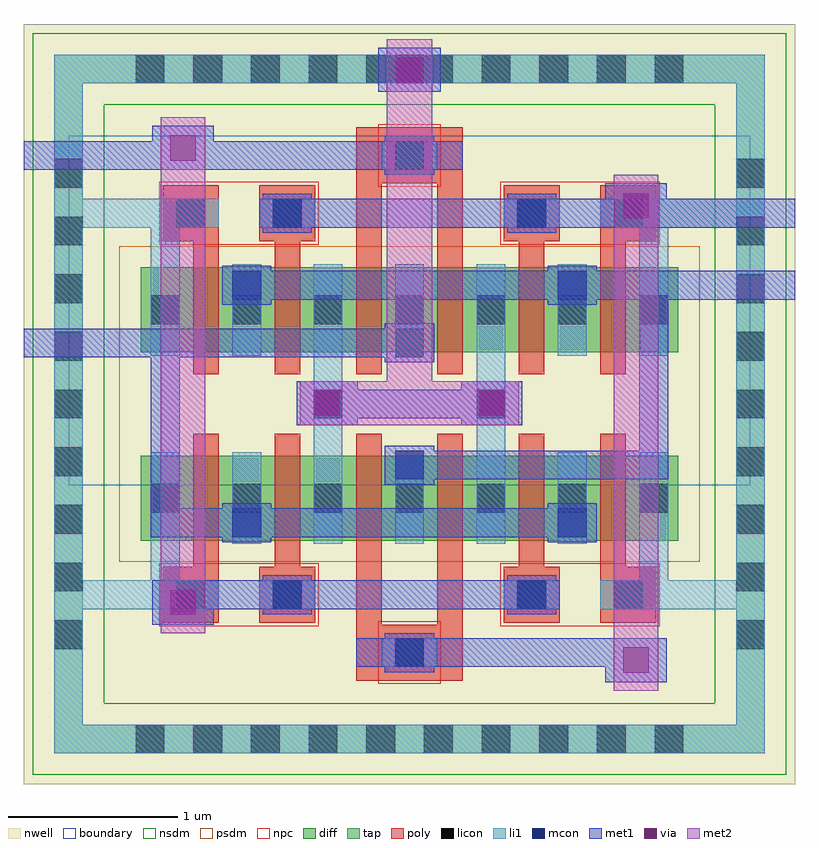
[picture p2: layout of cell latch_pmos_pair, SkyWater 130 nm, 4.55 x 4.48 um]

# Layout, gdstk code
import gdstk
lib = gdstk.Library(unit=1e-6, precision=1e-09)
def R(c, l, rs):  # rectangles x0, y0, x1, y1
    for r in rs: c.add(gdstk.rectangle(r[:2], r[2:], *l))
def A(c, l, x, y, w, h, nx, ny, dx, dy):  # array of equal rectangles
    R(c, l, [(x+i*dx, y+j*dy, x+i*dx+w, y+j*dy+h) for i in range(nx) for j in range(ny)])
nwell = (64, 20)
diff = (65, 20)
tap = (65, 44)
poly = (66, 20)
licon = (66, 44)
li1 = (67, 20)
mcon = (67, 44)
met1 = (68, 20)
via = (68, 44)
met2 = (69, 20)
nsdm = (93, 44)
psdm = (94, 20)
npc = (95, 20)
boundary = (235, 4)

latch_pmos_pair = lib.new_cell('latch_pmos_pair')
R(latch_pmos_pair, nwell, [(-2.275,-2.79,2.275,1.69)])
R(latch_pmos_pair, diff, [(-1.585,-1.355,1.585,-0.855), (-1.585,-0.245,1.585,0.255)])
R(latch_pmos_pair, tap, [(-2.095,-2.61,2.095,-2.44), (-2.095,-2.44,-1.925,1.34), (1.925,-2.44,2.095,1.34), (-2.095,1.34,2.095,1.51)])
R(latch_pmos_pair, poly, [(-0.315,-2.18,0.315,-1.85), (-0.315,-1.85,-0.165,-0.725), (0.165,-1.85,0.315,-0.725), (-1.455,-1.84,-1.125,-1.51), (-0.885,-1.84,-0.555,-1.51), (0.555,-1.84,0.885,-1.51), (1.125,-1.84,1.455,-1.51), (-1.275,-1.51,-1.125,-0.725), (-0.795,-1.51,-0.645,-0.725), (0.645,-1.51,0.795,-0.725), (1.125,-1.51,1.275,-0.725), (-1.275,-0.375,-1.125,0.41), (-0.795,-0.375,-0.645,0.41), (-0.315,-0.375,-0.165,0.75), (0.165,-0.375,0.315,0.75), (0.645,-0.375,0.795,0.41), (1.125,-0.375,1.275,0.41), (-1.455,0.41,-1.125,0.74), (-0.885,0.41,-0.555,0.74), (0.555,0.41,0.885,0.74), (1.125,0.41,1.455,0.74), (-0.315,0.75,0.315,1.08)])
A(latch_pmos_pair, licon, -1.615, -2.61, 0.17, 0.17, 10, 2, 0.34, 3.95)
A(latch_pmos_pair, licon, -2.095, -1.995, 0.17, 0.17, 1, 9, 0, 0.34)
A(latch_pmos_pair, licon, 1.925, -1.995, 0.17, 0.17, 1, 9, 0, 0.34)
A(latch_pmos_pair, licon, -1.525, -1.19, 0.17, 0.17, 7, 2, 0.48, 1.11)
R(latch_pmos_pair, licon, [(-0.085,-2.1,0.085,-1.93), (-1.375,-1.76,-1.205,-1.59), (-0.805,-1.76,-0.635,-1.59), (0.635,-1.76,0.805,-1.59), (1.205,-1.76,1.375,-1.59), (-1.375,0.49,-1.205,0.66), (-0.805,0.49,-0.635,0.66), (0.635,0.49,0.805,0.66), (1.205,0.49,1.375,0.66), (-0.085,0.83,0.085,1)])
R(latch_pmos_pair, li1, [(-2.095,-2.61,2.095,-2.44), (-2.095,-2.44,-1.925,-1.76), (1.925,-2.44,2.095,-1.76), (-0.165,-2.1,0.165,-1.93), (-2.095,-1.76,-1.125,-1.59), (-0.885,-1.76,-0.555,-1.59), (0.555,-1.76,0.885,-1.59), (1.125,-1.76,2.095,-1.59), (-2.095,-1.59,-1.925,0.49), (-1.525,-1.59,-1.355,-0.835), (1.355,-1.59,1.525,-0.835), (1.925,-1.59,2.095,0.49), (-1.045,-1.375,-0.875,-0.835), (-0.565,-1.375,-0.395,0.275), (-0.085,-1.375,0.085,-0.825), (0.395,-1.375,0.565,0.275), (0.875,-1.375,1.045,-0.835), (-0.085,-0.275,0.085,0.275), (-1.525,-0.265,-1.355,0.49), (-1.045,-0.265,-0.875,0.275), (0.875,-0.265,1.045,0.275), (1.355,-0.265,1.525,0.49), (-2.095,0.49,-1.125,0.66), (-0.885,0.49,-0.555,0.66), (0.555,0.49,0.885,0.66), (1.125,0.49,2.095,0.66), (-2.095,0.66,-1.925,1.34), (1.925,0.66,2.095,1.34), (-0.165,0.83,0.165,1), (-2.095,1.34,2.095,1.51)])
R(latch_pmos_pair, mcon, [(-0.085,-2.1,0.085,-1.93), (-0.805,-1.76,-0.635,-1.59), (0.635,-1.76,0.805,-1.59), (-1.045,-1.335,-0.875,-1.165), (0.875,-1.335,1.045,-1.165), (-0.085,-0.995,0.085,-0.825), (-0.565,-0.635,-0.395,-0.465), (0.395,-0.635,0.565,-0.465), (-0.085,-0.275,0.085,-0.105), (-1.045,0.065,-0.875,0.235), (0.875,0.065,1.045,0.235), (-0.805,0.49,-0.635,0.66), (0.635,0.49,0.805,0.66), (-0.085,0.83,0.085,1), (-0.085,1.34,0.085,1.51)])
R(latch_pmos_pair, met1, [(1.155,-2.19,1.515,-2.1), (-0.145,-2.13,0.145,-2.1), (-0.315,-2.1,1.515,-1.93), (-0.145,-1.93,0.145,-1.9), (-1.515,-1.85,-1.155,-1.76), (-0.865,-1.79,-0.575,-1.76), (0.575,-1.79,0.865,-1.76), (-1.515,-1.76,0.885,-1.59), (-0.865,-1.59,-0.575,-1.56), (0.575,-1.59,0.865,-1.56), (-1.105,-1.365,-0.815,-1.335), (0.815,-1.365,1.105,-1.335), (-1.525,-1.335,1.105,-1.165), (-1.525,-1.165,-1.355,-0.275), (-1.105,-1.165,-0.815,-1.135), (0.815,-1.165,1.105,-1.135), (-0.145,-1.025,0.145,-0.995), (-0.145,-0.995,1.525,-0.825), (-0.145,-0.825,0.145,-0.795), (1.355,-0.825,1.525,0.065), (-0.665,-0.675,-0.305,-0.635), (0.305,-0.675,0.665,-0.635), (-0.665,-0.635,0.665,-0.465), (-0.665,-0.465,-0.305,-0.415), (0.305,-0.465,0.665,-0.415), (-0.145,-0.305,0.145,-0.275), (-2.275,-0.275,0.145,-0.105), (-0.145,-0.105,0.145,-0.075), (-1.105,0.035,-0.815,0.065), (0.815,0.035,1.105,0.065), (-1.105,0.065,2.275,0.235), (-1.105,0.235,-0.815,0.265), (0.815,0.235,1.105,0.265), (-0.865,0.46,-0.575,0.49), (0.575,0.46,0.865,0.49), (-0.885,0.49,2.275,0.66), (-0.865,0.66,-0.575,0.69), (0.575,0.66,0.865,0.69), (1.155,0.66,1.515,0.75), (-0.145,0.8,0.145,0.83), (-2.275,0.83,0.315,1), (-1.515,1,-1.155,1.09), (-0.145,1,0.145,1.03), (-0.185,1.29,0.185,1.55)])
R(latch_pmos_pair, via, [(1.26,-2.135,1.41,-1.985), (-1.41,-1.795,-1.26,-1.645), (-0.56,-0.62,-0.41,-0.47), (0.41,-0.62,0.56,-0.47), (1.26,0.545,1.41,0.695), (-1.41,0.885,-1.26,1.035), (-0.075,1.345,0.075,1.495)])
R(latch_pmos_pair, met2, [(1.205,-2.24,1.465,0.8), (-1.465,-1.9,-1.205,1.14), (-0.645,-0.675,0.645,-0.415), (-0.135,-0.415,0.135,1.6)])
R(latch_pmos_pair, nsdm, [(-2.22,-2.735,2.22,-2.315), (-2.22,-2.315,-1.8,1.215), (1.8,-2.315,2.22,1.215), (-2.22,1.215,2.22,1.635)])
R(latch_pmos_pair, psdm, [(-1.71,-1.48,1.71,0.38)])
R(latch_pmos_pair, npc, [(-0.185,-2.2,0.185,-1.83), (-1.475,-1.86,-0.535,-1.49), (0.535,-1.86,1.475,-1.49), (-1.475,0.39,-0.535,0.76), (0.535,0.39,1.475,0.76), (-0.185,0.73,0.185,1.1)])
R(latch_pmos_pair, boundary, [(-2.01,-1.03,2.01,1.03)])

lib.write_gds('latch_pmos_pair.gds')
